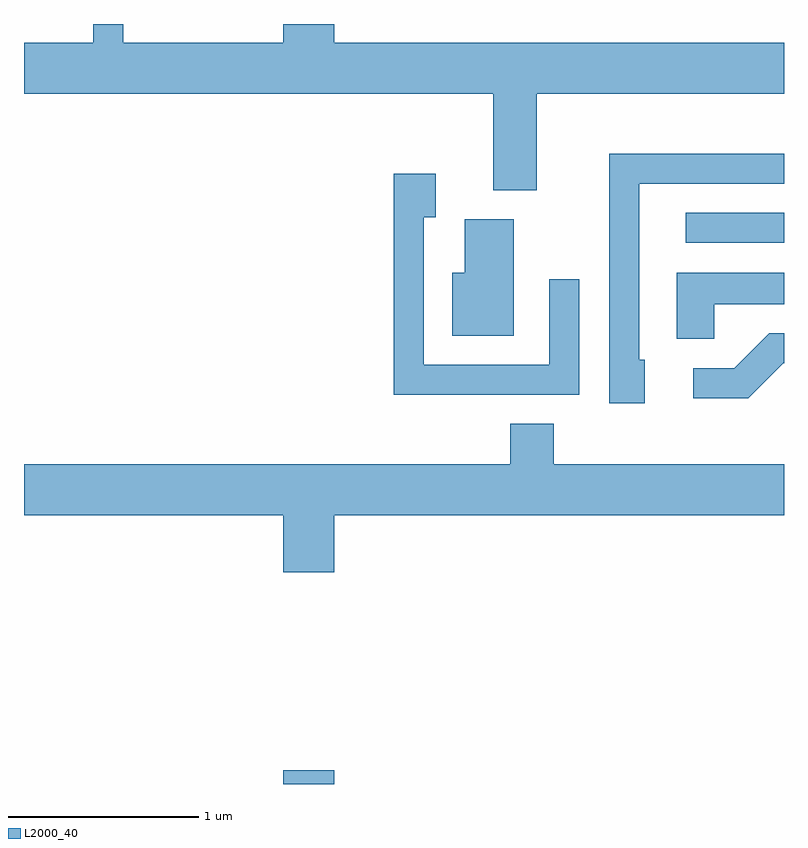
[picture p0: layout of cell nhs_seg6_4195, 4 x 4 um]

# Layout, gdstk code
import gdstk
lib = gdstk.Library(unit=1e-6, precision=1e-09)
def R(c, l, rs):  # rectangles x0, y0, x1, y1
    for r in rs: c.add(gdstk.rectangle(r[:2], r[2:], *l))
def P(c, l, *ps):  # polygons
    for p in ps: c.add(gdstk.Polygon(p, *l))
L2000_40 = (2000, 40)

nhs_seg6_4195 = lib.new_cell('nhs_seg6_4195')
R(nhs_seg6_4195, L2000_40, [(314.976,1564.162,315.244,1564.234), (317.093,1567.011,317.611,1567.169)])
P(nhs_seg6_4195, L2000_40, [(316.309,1567.796),(317.611,1567.796),(317.611,1568.064),(315.244,1568.064),(315.244,1568.162),(314.976,1568.162),(314.976,1568.064),(314.134,1568.064),(314.134,1568.162),(313.976,1568.162),(313.976,1568.064),(313.611,1568.064),(313.611,1567.796),(316.081,1567.796),(316.081,1567.286),(316.309,1567.286)],
  [(316.879,1566.394),(316.849,1566.394),(316.849,1567.321),(317.611,1567.321),(317.611,1567.479),(316.691,1567.479),(316.691,1566.166),(316.879,1566.166)],
  [(316.534,1566.818),(316.376,1566.818),(316.376,1566.369),(315.714,1566.369),(315.714,1567.146),(315.779,1567.146),(315.779,1567.374),(315.556,1567.374),(315.556,1566.211),(316.534,1566.211)],
  [(316.189,1567.134),(315.931,1567.134),(315.931,1566.854),(315.866,1566.854),(315.866,1566.521),(316.189,1566.521)],
  [(317.244,1566.686),(317.611,1566.686),(317.611,1566.854),(317.046,1566.854),(317.046,1566.506),(317.244,1566.506)],
  [(317.607,1566.376),(317.611,1566.376),(317.611,1566.534),(317.534,1566.534),(317.349,1566.349),(317.133,1566.349),(317.133,1566.191),(317.422,1566.191)],
  [(315.244,1565.576),(317.611,1565.576),(317.611,1565.844),(316.399,1565.844),(316.399,1566.059),(316.171,1566.059),(316.171,1565.844),(313.611,1565.844),(313.611,1565.576),(314.976,1565.576),(314.976,1565.276),(315.244,1565.276)])

lib.write_gds('nhs_seg6_4195.gds')
